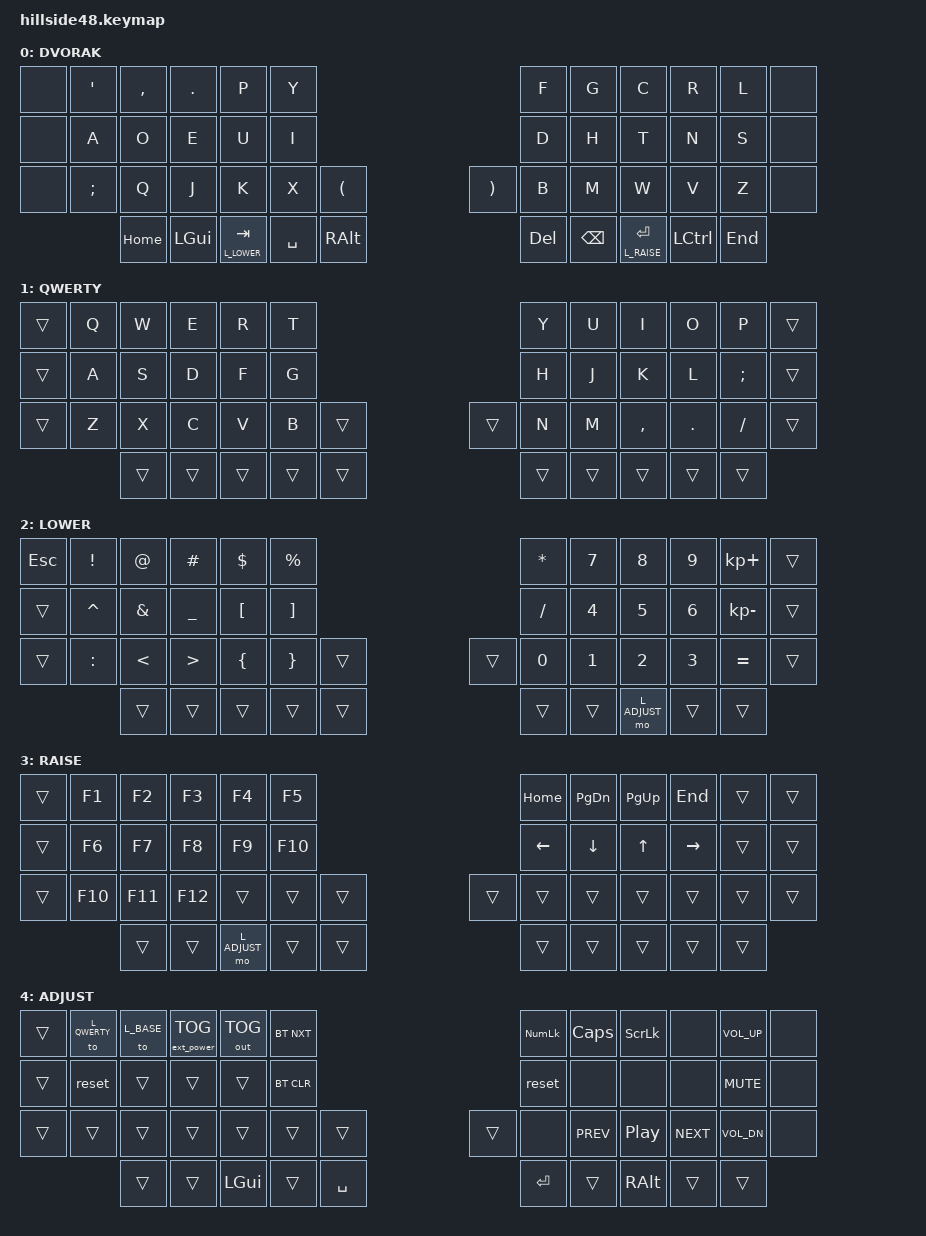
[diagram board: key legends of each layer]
/*
 * Copyright (c) 2022 The ZMK Contributors
 *
 * SPDX-License-Identifier: MIT
 */

#include <behaviors.dtsi>
#include <dt-bindings/zmk/bt.h>
#include <dt-bindings/zmk/keys.h>
#include <dt-bindings/zmk/ext_power.h>
#include <dt-bindings/zmk/keys.h>
#include <dt-bindings/zmk/outputs.h>

#define L_BASE 0
#define L_QWERTY 1
#define L_LOWER 2
#define L_RAISE 3
#define L_ADJUST 4

#define _______ &trans

#define Undo   LC(Z)
#define Cut    LC(X)
#define Copy   LC(C)
#define Paste  LC(V)

/ {
  combos {
    compatible = "zmk,combos";
    timeout-ms = <50>; 
    grave {
      key-positions = <1 2>;
      bindings = <&kp GRAVE>;
    };
    combo_esc {
      key-positions = <2 3>;
      bindings = <&kp ESC>;
    };
    forward_slash {
      key-positions = <8 9>;
      bindings = <&kp FSLH>;
    };
    back_slash {
      key-positions = <9 10>;
      bindings = <&kp BSLH>;
    };
    lpar {
      key-positions = <13 14>;
      bindings = <&kp LPAR>;
    };
  lshift {
      key-positions = <14 15>;
      bindings = <&skq LSHIFT>;
    };
    rshift {
      key-positions = <20 21>;
      bindings = <&skq RSHIFT>;
    }; 
    rpar {
      key-positions = <21 22>;
      bindings = <&kp RPAR>;
    };
    combo_cw {
      key-positions = <13 22>;
      bindings = <&caps_word>;
    };
  };

  behaviors {
    hm: shift {
      compatible = "zmk,behavior-hold-tap";
      label = "SHIFT_HOLD_TAP";
      #binding-cells = <2>;
      tapping-term-ms = <150>;
      quick_tap_ms = <150>;
      flavor = "tap-preferred";
      bindings = <&kp>, <&kp>;
    };
    skq: sticky_key_quick_release {
      compatible = "zmk,behavior-sticky-key";
      label = "STICKY_KEY_QUICK_RELEASE";
      #binding-cells = <1>;
      bindings = <&kp>;
      release-after-ms = <1000>;
      quick-release;
    }; 
    tdll: tap_dance_layer_lower {
      compatible = "zmk,behavior-tap-dance";
      label = "TAP_DANCE_0";
      #binding-cells = <0>;
      tapping-term-ms = <125>;
      bindings = <&lt L_LOWER TAB>, <&kp TAB>, <&tog L_LOWER>;
    };
    tdlr: tap_dance_layer_raise {
      compatible = "zmk,behavior-tap-dance";
      label = "TAP_DANCE_1";
      #binding-cells = <0>;
      tapping-term-ms = <135>;
      bindings = <&lt L_RAISE ENTER>, <&kp ENTER>, <&tog L_RAISE>;
    };
  };
};

&lt {
  tapping-term-ms = <150>;
  quick-tap-ms = <135>;
};

&caps_word {
  continue-list = <UNDERSCORE BACKSPACE>;
};

/ {
  keymap {
    compatible = "zmk,keymap";
    default_layer {
      label = "DVORAK";
      bindings = <
&none       &kp APOS    &kp COMMA &kp DOT    &kp P    &kp Y                                           &kp F    &kp G    &kp C    &kp R    &kp L &none
&none       &kp A       &kp O     &kp E      &kp U    &kp I                                           &kp D    &kp H    &kp T    &kp N    &kp S &none
&none       &kp SEMI    &kp Q     &kp J      &kp K    &kp X &kp LPAR                       &kp RPAR   &kp B    &kp M    &kp W    &kp V    &kp Z &none
                             &kp HOME  &kp LGUI &lt L_LOWER TAB  &kp SPC &kp RALT        &kp DEL &kp BSPC &lt L_RAISE ENTER &kp LCTRL  &kp END
      >;
    };
    qwerty_layer {
      label = "QWERTY";
      bindings = <
_______  &kp Q    &kp W    &kp E    &kp R    &kp T                                     &kp Y    &kp U    &kp I     &kp O    &kp P    _______
_______  &kp A    &kp S    &kp D    &kp F    &kp G                                     &kp H    &kp J    &kp K     &kp L    &kp SEMI _______
_______  &kp Z    &kp X    &kp C    &kp V    &kp B            _______ _______          &kp N    &kp M    &kp COMMA &kp DOT  &kp FSLH _______
                       _______ _______ _______ _______ _______              _______ _______ _______ _______ _______
      >;
    };
    lower_layer {
      label = "LOWER";
      bindings = <
&kp ESC   &kp EXCL  &kp AT   &kp HASH  &kp DLLR  &kp PRCNT                                    &kp STAR  &kp N7    &kp N8    &kp N9    &kp KP_PLUS   _______
_______   &kp CARET &kp AMPS &kp UNDER &kp LBKT  &kp RBKT                                     &kp SLASH &kp N4    &kp N5    &kp N6    &kp KP_MINUS  _______
_______   &kp COLON  &kp LT   &kp GT    &kp LBRC  &kp RBRC                _______ _______      &kp N0    &kp N1    &kp N2    &kp N3    &kp EQUAL     _______
                                _______ _______ _______ _______ _______                  _______    _______ &mo L_ADJUST _______ _______
      >;
    };

    raise_layer {
      label = "RAISE";
      bindings = <
_______ &kp F1  &kp F2  &kp F3  &kp F4  &kp F5                                   &kp HOME &kp PG_DN &kp PG_UP &kp END     _______ _______  
_______ &kp F6  &kp F7  &kp F8  &kp F9  &kp F10                                  &kp LEFT &kp DOWN  &kp UP    &kp RIGHT   _______ _______
_______ &kp F10 &kp F11 &kp F12 _______ _______           _______ _______        _______  _______   _______   _______     _______ _______
                        _______   _______  &mo L_ADJUST  _______  _______           _______ _______ _______ _______ _______
      >;
    };
    adjust_layer {
      label = "ADJUST";
      bindings = <
_______ &to L_QWERTY &to L_BASE &ext_power EP_TOG &out OUT_TOG    &bt BT_NXT                &kp KP_NUM &kp CAPS          &kp SLCK           &none        &kp C_VOL_UP   &none
_______ &reset      _______    _______           _______         &bt BT_CLR                 &reset     &none             &none              &none        &kp C_MUTE     &none
_______ _______      _______    _______           _______         _______ _______   _______ &none      &kp C_PREV        &kp C_PP           &kp C_NEXT   &kp C_VOL_DN   &none
                                       _______  _______ &kp LGUI _______  &kp SPC   &kp ENTER _______ &kp RALT _______ _______
      >;
    };
  };
};

